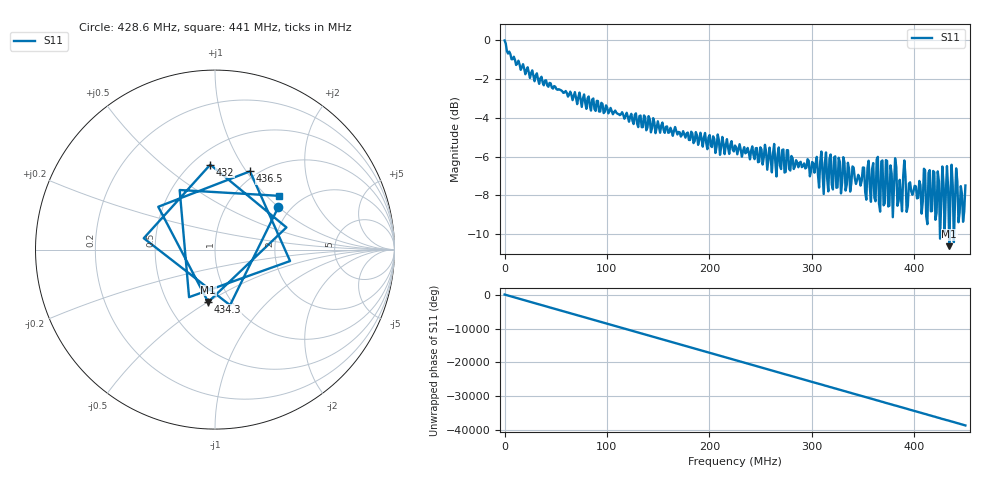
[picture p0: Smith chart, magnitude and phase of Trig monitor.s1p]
! NanoVNA-App
! Date: 2026-09-29 13:07:28
! Start: 50kHz Stop: 450MHz Points: 401
! S-Parameter data: F S11
# Hz S RI R 50
!  Frequency  S11_Real  S11_Imag
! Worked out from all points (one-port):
!   401 points, 50 kHz to 450 MHz, reference 50 ohm
!   lowest |S11| = -10.6 dB at 434.3 MHz (marker M1), VSWR 1.84, Z = 39.3 - j25.1 ohm
!   |S11| at or under -10 dB: 425.1667 MHz to 425.3887 MHz (222.1 kHz wide, 0.0522 % of centre); 434.0222 MHz to 434.5209 MHz (498.7 kHz wide, 0.115 % of centre); 438.5957 MHz to 438.9649 MHz (369.2 kHz wide, 0.0841 % of centre)
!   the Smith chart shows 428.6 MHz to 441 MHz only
!   S11 on the Smith chart (normalised r, x): 428.6 MHz: 1.72, +1.00; 432 MHz: 0.61, +0.74; 434.3 MHz: 0.79, -0.50; 436.5 MHz: 0.92, +1.04; 441 MHz: 1.56, +1.20
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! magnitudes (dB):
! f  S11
! 50 kHz  0.0
! 18.05 MHz  -1.2
! 56.29 MHz  -2.6
! 112.5 MHz  -3.9
! 168.8 MHz  -4.9
! 225 MHz  -5.4
! 281.3 MHz  -6.1
! 337.5 MHz  -7.8
! 362.3 MHz  -8.3
! 367.9 MHz  -6.2
! 371.3 MHz  -8.4
! 376.9 MHz  -6.4
! 383.6 MHz  -8.5
! 385.9 MHz  -7.2
! 388.1 MHz  -8.8
! 393.8 MHz  -8.5
! 414 MHz  -6.8
! 417.4 MHz  -8.8
! 421.9 MHz  -8.9
! 423 MHz  -6.8
! 428.6 MHz  -7.4
! 429.8 MHz  -9.9
! 432 MHz  -6.5
! 434.3 MHz  -10.6
! 436.5 MHz  -6.4
! 438.8 MHz  -10.4
! 441 MHz  -6.6
! 450 MHz  -7.5
